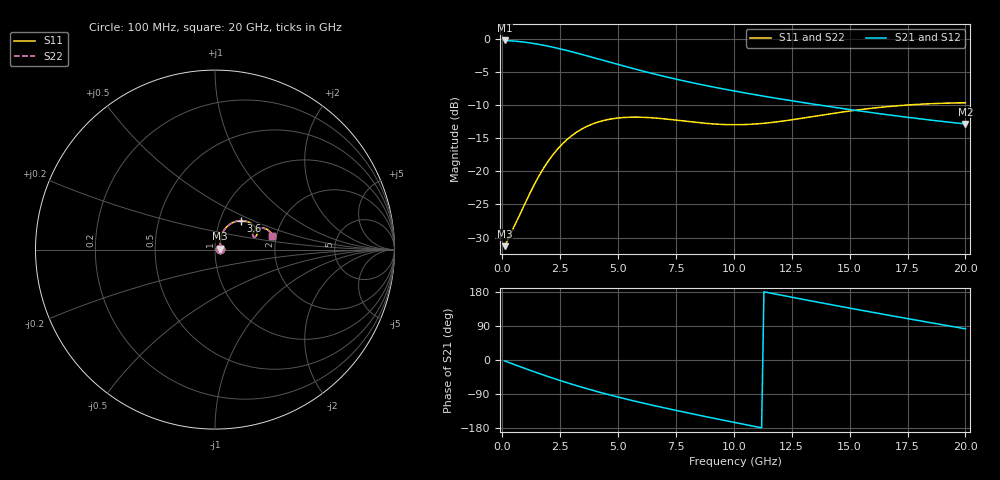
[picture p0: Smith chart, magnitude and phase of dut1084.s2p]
! Touchstone file exported from HFSS 2024.1.0
!  File:  C:/UserFiles/LocalFiles/RDL_TSV_Batchsim/temp_RDL_TSV_1084_1780096434.aedt
!  Generated:  07:26:04 AM May 30, 2026
!  Design:  RDL_TSV
!  Project:  temp_RDL_TSV_1084_1780096434
!  Setup:  Setup1
!  Solution:  Sweep
! Variables:
!  dtsv = 7.65um
!  hbump = 3um
!  htsv = 99.32um
!  ldown = 626.69um
!  lrdl = 506.82um
!  p = 40
!  p1 = 51.53um
!  rhole = 10um
!  subl = 3907.35um
!  t = 450um
!  tdown = 3.21um
!  trdl = 2.82um
!  viad = 10um
!  wdown = 12.02um
!  wrdl = 29.84um
!  xbump = 18um
# GHz S MA R 50.000000
! Terminal data exported
! Port[1] = TM1_1_T1
! Port[2] = TM1_4_T1
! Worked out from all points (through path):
!   200 points, 100 MHz to 20 GHz, reference 50 ohm
!   highest |S21| = -0.24 dB at 100 MHz (marker M1); lowest = -12.8 dB at 20 GHz (marker M2)
!   group delay of S21, straight-line fit = 36.5 ps
!   lowest |S11| = -31.3 dB at 100 MHz (marker M3), VSWR 1.06, Z = 52.7 + j0.595 ohm
!   |S11| at or under -10 dB: start of sweep to 17.43 GHz
!   |S22| runs from -31.3 to -9.7 dB; largest |S21 - S12| = 1.6e-14
!   S11 on the Smith chart (normalised r, x): 100 MHz: 1.05, +0.01; 3.6 GHz: 1.26, +0.43; 20 GHz: 1.90, +0.33
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0.1  0.02724 11.9  0.9731 -2.4  0.9731 -2.4  0.02724 11.9
! Gamma 0 0 0 0
! Port Impedance 50 0 50 0
0.5  0.03795 40.1  0.9633 -11.7  0.9633 -11.7  0.03796 40.1
0.9  0.05339 55.8  0.9476 -20.6  0.9476 -20.6  0.05338 55.7
1.4  0.08066 64.6  0.9208 -31.6  0.9208 -31.6  0.08058 64.5
1.8  0.1069 65.7  0.8943 -40.0  0.8943 -40.0  0.1067 65.6
2.2  0.1345 63.7  0.8646 -48.3  0.8646 -48.3  0.1342 63.6
2.6  0.1614 60.1  0.8328 -56.2  0.8328 -56.2  0.1611 60.0
3  0.186 55.6  0.7998 -63.8  0.7998 -63.8  0.1855 55.5
3.5  0.2118 49.5  0.7581 -73.0  0.7581 -73.0  0.2112 49.4
3.6  0.2162 48.3  0.7499 -74.7  0.7499 -74.7  0.2156 48.2
4.4  0.2426 39.1  0.6857 -88.3  0.6857 -88.3  0.2419 39.0
5.1  0.2538 32.1  0.6341 -99.3  0.6341 -99.3  0.2531 32.0
5.9  0.2564 25.8  0.5816 -111.2  0.5816 -111.2  0.2557 25.7
6.8  0.251 20.9  0.5308 -123.7  0.5308 -123.7  0.2502 20.8
8.3  0.2349 17.7  0.463 -143.3  0.463 -143.3  0.2341 17.6
10.1  0.225 20.4  0.4018 -165.7  0.4018 -165.7  0.224 20.3
11.8  0.2357 24.6  0.357 173.9  0.357 173.9  0.2347 24.5
13.4  0.2591 26.2  0.3222 155.2  0.3222 155.2  0.2578 26.2
15  0.2855 25.0  0.2929 136.9  0.2929 136.9  0.284 25.0
16.7  0.3088 21.7  0.2666 118.0  0.2666 118.0  0.3071 21.7
18.3  0.3229 17.8  0.246 100.6  0.246 100.6  0.321 17.8
20  0.3293 13.6  0.228 82.4  0.228 82.4  0.3272 13.6
